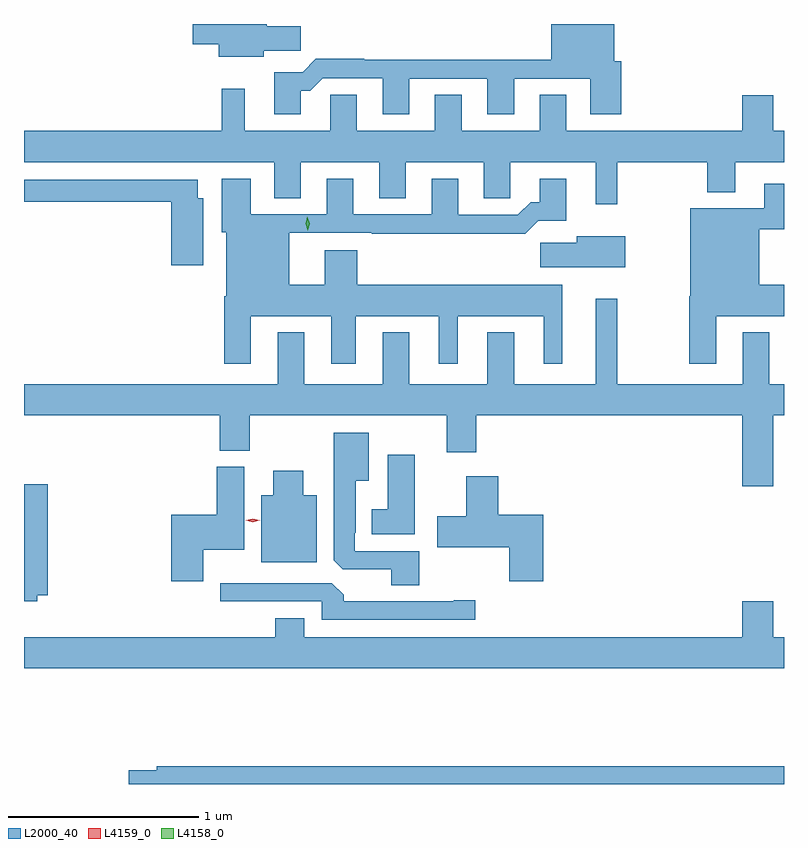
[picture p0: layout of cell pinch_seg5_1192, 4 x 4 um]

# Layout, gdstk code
import gdstk
lib = gdstk.Library(unit=1e-6, precision=1e-09)
def P(c, l, *ps):  # polygons
    for p in ps: c.add(gdstk.Polygon(p, *l))
L2000_40 = (2000, 40)
L4158_0 = (4158, 0)
L4159_0 = (4159, 0)

pinch_seg5_1192 = lib.new_cell('pinch_seg5_1192')
P(pinch_seg5_1192, L2000_40, [(462.385,883.775),(462.434,883.775),(462.501,883.842),(462.815,883.842),(462.815,883.653),(462.955,883.653),(462.955,883.839),(463.367,883.839),(463.367,883.653),(463.507,883.653),(463.507,883.839),(463.907,883.839),(463.907,883.653),(464.072,883.653),(464.072,883.932),(464.035,883.932),(464.035,884.127),(463.703,884.127),(463.703,883.94),(462.719,883.94),(462.719,883.943),(462.464,883.943),(462.394,883.873),(462.245,883.873),(462.245,883.653),(462.385,883.653)],
  [(462.19,883.987),(462.385,883.987),(462.385,884.116),(462.205,884.116),(462.205,884.127),(461.817,884.127),(461.817,884.02),(461.954,884.02),(461.954,883.955),(462.19,883.955)],
  [(464.051,883.4),(464.524,883.4),(464.524,883.241),(464.671,883.241),(464.671,883.4),(464.928,883.4),(464.928,883.564),(464.872,883.564),(464.872,883.753),(464.708,883.753),(464.708,883.564),(463.783,883.564),(463.783,883.754),(463.643,883.754),(463.643,883.564),(463.231,883.564),(463.231,883.754),(463.091,883.754),(463.091,883.564),(462.679,883.564),(462.679,883.754),(462.54,883.754),(462.54,883.564),(462.091,883.564),(462.091,883.786),(461.97,883.786),(461.97,883.564),(460.928,883.564),(460.928,883.4),(462.245,883.4),(462.245,883.21),(462.385,883.21),(462.385,883.4),(462.797,883.4),(462.797,883.21),(462.937,883.21),(462.937,883.4),(463.349,883.4),(463.349,883.21),(463.488,883.21),(463.488,883.4),(463.937,883.4),(463.937,883.179),(464.051,883.179)],
  [(462.121,882.59),(462.545,882.59),(462.545,882.339),(462.673,882.339),(462.673,882.59),(463.112,882.59),(463.112,882.339),(463.21,882.339),(463.21,882.59),(463.664,882.59),(463.664,882.339),(463.762,882.339),(463.762,882.754),(462.683,882.754),(462.683,882.937),(462.512,882.937),(462.512,882.754),(462.325,882.754),(462.325,883.029),(462.757,883.029),(462.757,883.024),(463.309,883.024),(463.309,883.022),(463.565,883.022),(463.634,883.091),(463.783,883.091),(463.783,883.312),(463.643,883.312),(463.643,883.189),(463.594,883.189),(463.527,883.122),(463.213,883.122),(463.213,883.312),(463.073,883.312),(463.073,883.125),(462.661,883.125),(462.661,883.312),(462.521,883.312),(462.521,883.125),(462.121,883.125),(462.121,883.312),(461.969,883.312),(461.969,883.032),(461.993,883.032),(461.993,882.694),(461.981,882.694),(461.981,882.339),(462.121,882.339)],
  [(461.872,883.21),(461.842,883.21),(461.842,883.308),(460.928,883.308),(460.928,883.192),(461.702,883.192),(461.702,882.858),(461.872,882.858)],
  [(464.572,882.59),(464.928,882.59),(464.928,882.754),(464.797,882.754),(464.797,883.047),(464.928,883.047),(464.928,883.285),(464.825,883.285),(464.825,883.156),(464.435,883.156),(464.435,882.694),(464.428,882.694),(464.428,882.339),(464.572,882.339)],
  [(464.092,883.009),(463.838,883.009),(463.838,882.977),(463.644,882.977),(463.644,882.848),(464.092,882.848)],
  [(464.872,882.068),(464.928,882.068),(464.928,882.232),(464.851,882.232),(464.851,882.505),(464.711,882.505),(464.711,882.232),(464.051,882.232),(464.051,882.682),(463.937,882.682),(463.937,882.232),(463.507,882.232),(463.507,882.505),(463.367,882.505),(463.367,882.232),(462.955,882.232),(462.955,882.505),(462.815,882.505),(462.815,882.232),(462.403,882.232),(462.403,882.505),(462.263,882.505),(462.263,882.232),(460.928,882.232),(460.928,882.068),(461.957,882.068),(461.957,881.881),(462.117,881.881),(462.117,882.068),(463.154,882.068),(463.154,881.874),(463.307,881.874),(463.307,882.068),(464.708,882.068),(464.708,881.694),(464.872,881.694)],
  [(463.008,881.352),(462.669,881.352),(462.669,881.449),(462.673,881.449),(462.673,881.723),(462.742,881.723),(462.742,881.977),(462.557,881.977),(462.557,881.305),(462.606,881.256),(462.86,881.256),(462.86,881.173),(463.008,881.173)],
  [(462.985,881.86),(462.842,881.86),(462.842,881.572),(462.758,881.572),(462.758,881.441),(462.985,881.441)],
  [(461.872,881.36),(462.088,881.36),(462.088,881.796),(461.942,881.796),(461.942,881.545),(461.702,881.545),(461.702,881.193),(461.872,881.193)],
  [(462.469,881.647),(462.397,881.647),(462.397,881.776),(462.239,881.776),(462.239,881.647),(462.176,881.647),(462.176,881.294),(462.469,881.294)],
  [(463.661,881.545),(463.424,881.545),(463.424,881.746),(463.256,881.746),(463.256,881.535),(463.104,881.535),(463.104,881.372),(463.483,881.372),(463.483,881.193),(463.661,881.193)],
  [(460.997,881.12),(461.053,881.12),(461.053,881.704),(460.928,881.704),(460.928,881.09),(460.997,881.09)],
  [(463.303,881.093),(463.19,881.093),(463.19,881.088),(462.611,881.088),(462.611,881.122),(462.549,881.184),(461.961,881.184),(461.961,881.088),(462.495,881.088),(462.495,880.992),(463.303,880.992)],
  [(464.928,880.9),(464.872,880.9),(464.872,881.089),(464.708,881.089),(464.708,880.9),(462.403,880.9),(462.403,880.999),(462.251,880.999),(462.251,880.9),(460.928,880.9),(460.928,880.736),(464.928,880.736)],
  [(464.928,880.22),(461.626,880.22),(461.626,880.2),(461.48,880.2),(461.48,880.127),(464.928,880.127)])
P(pinch_seg5_1192, L4158_0, [(462.422,883.04),(462.422,883.041),(462.411,883.076),(462.42,883.112),(462.42,883.112),(462.42,883.112),(462.431,883.076),(462.422,883.041)])
P(pinch_seg5_1192, L4159_0, [(462.131,881.504),(462.094,881.514),(462.093,881.514),(462.094,881.514),(462.131,881.524),(462.168,881.515),(462.168,881.515),(462.168,881.514)])

lib.write_gds('pinch_seg5_1192.gds')
